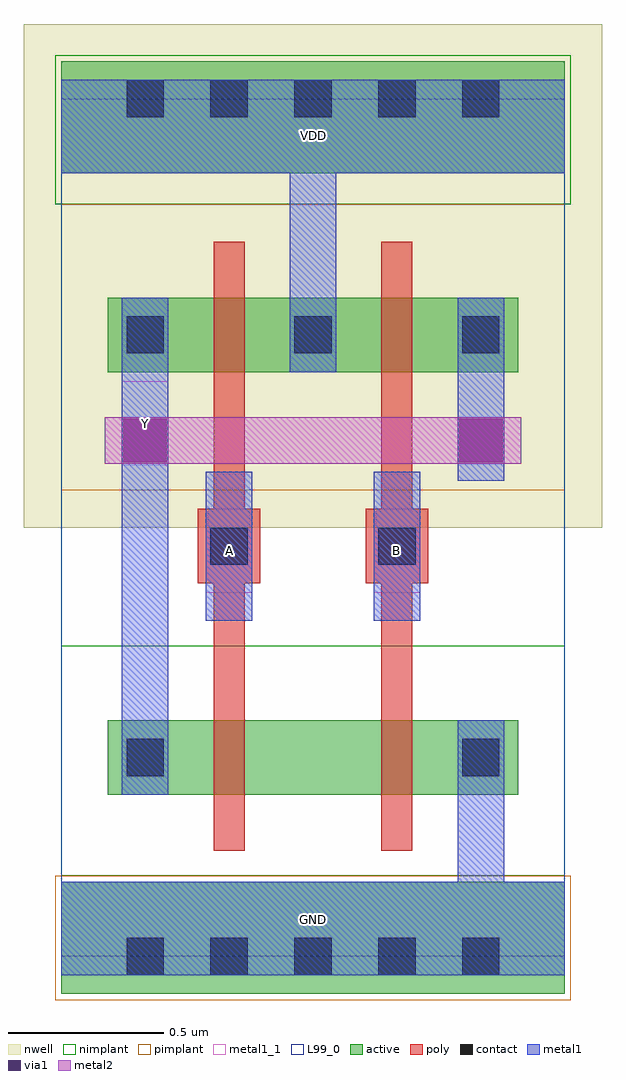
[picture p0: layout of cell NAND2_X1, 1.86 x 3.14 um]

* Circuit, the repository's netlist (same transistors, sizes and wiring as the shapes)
* TV3_CELLS/NAND2_X1: netlist from Virtuoso schematic
.SUBCKT NAND2_X1 A B GND VDD Y
MMN1 n1 B GND GND nmos1v w=240n l=100n
MMN0 Y A n1 GND nmos1v w=240n l=100n
MMP1 Y B VDD VDD pmos1v w=240n l=100n
MMP0 Y A VDD VDD pmos1v w=240n l=100n
.ENDS NAND2_X1

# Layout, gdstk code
import gdstk
lib = gdstk.Library(unit=1e-6, precision=5e-10)
def R(c, l, rs):  # rectangles x0, y0, x1, y1
    for r in rs: c.add(gdstk.rectangle(r[:2], r[2:], *l))
def A(c, l, x, y, w, h, nx, ny, dx, dy):  # array of equal rectangles
    R(c, l, [(x+i*dx, y+j*dy, x+i*dx+w, y+j*dy+h) for i in range(nx) for j in range(ny)])
active = (1, 0)
nwell = (2, 0)
poly = (3, 0)
nimplant = (4, 0)
pimplant = (5, 0)
contact = (6, 0)
metal1 = (7, 0)
metal1_1 = (7, 1)
via1 = (8, 0)
metal2 = (9, 0)
L99_0 = (99, 0)

nand2_x1 = lib.new_cell('NAND2_X1')
A(nand2_x1, active, 0.15, 0.52, 0.24, 0.24, 3, 2, 0.54, 1.36)
R(nand2_x1, active, [(0,-0.12,1.62,0.24), (0.39,0.52,0.69,0.76), (0.93,0.52,1.23,0.76), (0.39,1.88,0.69,2.12), (0.93,1.88,1.23,2.12), (0,2.52,1.62,2.88)])
R(nand2_x1, nwell, [(-0.12,1.38,1.74,3)])
R(nand2_x1, poly, [(0.49,0.34,0.59,2.3), (1.03,0.34,1.13,2.3), (0.44,1.2,0.64,1.44), (0.98,1.2,1.18,1.44)])
R(nand2_x1, nimplant, [(0,0.26,1.62,1), (-0.02,2.42,1.64,2.9)])
R(nand2_x1, pimplant, [(-0.02,-0.14,1.64,0.26), (0,1.5,1.62,2.42)])
A(nand2_x1, contact, 0.21, -0.06, 0.12, 0.12, 5, 2, 0.27, 2.76)
A(nand2_x1, contact, 0.21, 1.94, 0.12, 0.12, 3, 1, 0.54, 0)
R(nand2_x1, contact, [(0.21,0.58,0.33,0.7), (1.29,0.58,1.41,0.7), (0.48,1.26,0.6,1.38), (1.02,1.26,1.14,1.38)])
R(nand2_x1, metal1, [(0,-0.06,1.62,0.24), (1.275,0,1.425,0.76), (0.195,0.52,0.345,2.12), (0.465,1.08,0.615,1.56), (1.005,1.08,1.155,1.56), (1.275,1.53,1.425,2.12), (0.735,1.88,0.885,2.76), (0,2.52,1.62,2.82)])
R(nand2_x1, metal1_1, [(0,0,1.62,0.24), (0.465,1.17,0.615,1.44), (1.005,1.17,1.155,1.44), (0.195,1.58,0.345,1.85), (0,2.52,1.62,2.76)])
R(nand2_x1, via1, [(0.2,1.59,0.34,1.73), (1.28,1.59,1.42,1.73)])
R(nand2_x1, metal2, [(0.14,1.585,1.48,1.735)])
R(nand2_x1, L99_0, [(0,0,1.62,2.76)])
nand2_x1.add(gdstk.Label('Y', (0.27,1.715), layer=7, texttype=3))
nand2_x1.add(gdstk.Label('B', (1.08,1.305), layer=7, texttype=3))
nand2_x1.add(gdstk.Label('A', (0.54,1.305), layer=7, texttype=3))
nand2_x1.add(gdstk.Label('VDD', (0.81,2.64), layer=7, texttype=3))
nand2_x1.add(gdstk.Label('GND', (0.81,0.12), layer=7, texttype=3))

lib.write_gds('NAND2_X1.gds')
